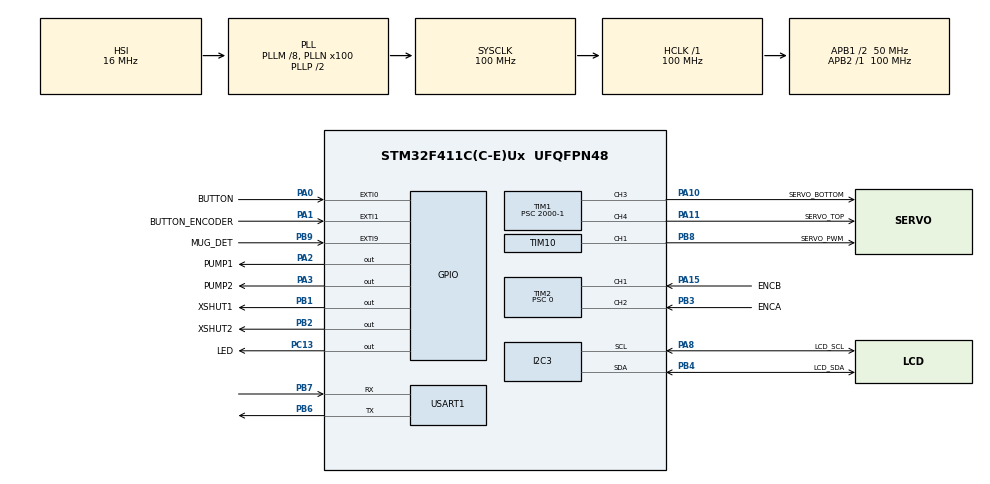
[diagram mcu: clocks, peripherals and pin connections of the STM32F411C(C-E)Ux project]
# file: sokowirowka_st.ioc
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I2C3.I2C_Mode=I2C_Standard
Mcu.Family=STM32F4
Mcu.Name=STM32F411C(C-E)Ux
Mcu.Package=UFQFPN48
NVIC.EXTI0_IRQn=true\:0\:0\:false\:false\:true\:true\:true\:true
NVIC.EXTI1_IRQn=true\:0\:0\:false\:false\:true\:true\:true\:true
NVIC.EXTI9_5_IRQn=true\:0\:0\:false\:false\:true\:true\:true\:true
NVIC.PriorityGroup=NVIC_PRIORITYGROUP_4
NVIC.TIM2_IRQn=true\:0\:0\:false\:false\:true\:true\:true\:true
NVIC.TIM3_IRQn=true\:0\:0\:false\:false\:true\:true\:true\:true
NVIC.USART1_IRQn=true\:0\:0\:false\:false\:true\:true\:true\:true
PA0-WKUP.GPIO_Label=BUTTON
PA0-WKUP.GPIO_ModeDefaultEXTI=GPIO_MODE_IT_RISING_FALLING
PA0-WKUP.GPIO_PuPd=GPIO_PULLUP
PA0-WKUP.Signal=GPXTI0
PA1.GPIO_Label=BUTTON_ENCODER
PA1.GPIO_ModeDefaultEXTI=GPIO_MODE_IT_RISING_FALLING
PA1.GPIO_PuPd=GPIO_PULLUP
PA1.Signal=GPXTI1
PA10.GPIO_Label=SERVO_BOTTOM
PA10.Signal=S_TIM1_CH3
PA11.GPIO_Label=SERVO_TOP
PA11.Signal=S_TIM1_CH4
PA15.GPIO_Label=ENCB
PA15.Signal=S_TIM2_CH1_ETR
PA2.GPIO_Label=PUMP1
PA2.Signal=GPIO_Output
PA3.GPIO_Label=PUMP2
PA3.Signal=GPIO_Output
PA8.GPIO_Label=LCD_SCL
PA8.Mode=I2C
PA8.Signal=I2C3_SCL
PB1.GPIO_Label=XSHUT1
PB1.GPIO_ModeDefaultOutputPP=GPIO_MODE_OUTPUT_PP
PB1.GPIO_PuPd=GPIO_NOPULL
PB1.Signal=GPIO_Output
PB2.GPIO_Label=XSHUT2
PB2.GPIO_ModeDefaultOutputPP=GPIO_MODE_OUTPUT_PP
PB2.GPIO_PuPd=GPIO_NOPULL
PB2.Signal=GPIO_Output
PB3.GPIO_Label=ENCA
PB3.Signal=S_TIM2_CH2
PB4.GPIO_Label=LCD_SDA
PB4.Mode=I2C
PB4.Signal=I2C3_SDA
PB6.Mode=Asynchronous
PB6.Signal=USART1_TX
PB7.Mode=Asynchronous
PB7.Signal=USART1_RX
PB8.GPIO_Label=SERVO_PWM
PB8.Signal=S_TIM10_CH1
PB9.GPIO_Label=MUG_DET
PB9.GPIO_ModeDefaultEXTI=GPIO_MODE_IT_RISING_FALLING
PB9.GPIO_PuPd=GPIO_PULLDOWN
PB9.Signal=GPXTI9
PC13-ANTI_TAMP.GPIO_Label=LED
PC13-ANTI_TAMP.Signal=GPIO_Output
ProjectManager.HeapSize=0x200
ProjectManager.StackSize=0x400
ProjectManager.TargetToolchain=CMake
RCC.48MHZClocksFreq_Value=50000000
RCC.AHBFreq_Value=100000000
RCC.APB1CLKDivider=RCC_HCLK_DIV2
RCC.APB1Freq_Value=50000000
RCC.APB1TimFreq_Value=100000000
RCC.APB2Freq_Value=100000000
RCC.APB2TimFreq_Value=100000000
RCC.CortexFreq_Value=100000000
RCC.HCLKFreq_Value=100000000
RCC.HSE_VALUE=25000000
RCC.HSI_VALUE=16000000
RCC.LSE_VALUE=32768
RCC.PLLM=8
RCC.PLLN=100
RCC.SYSCLKFreq_VALUE=100000000
RCC.SYSCLKSource=RCC_SYSCLKSOURCE_PLLCLK
RCC.VCOOutputFreq_Value=200000000
SH.S_TIM10_CH1.0=TIM10_CH1,PWM Generation1 CH1
SH.S_TIM1_CH3.0=TIM1_CH3,PWM Generation3 CH3
SH.S_TIM1_CH4.0=TIM1_CH4,PWM Generation4 CH4
SH.S_TIM2_CH1_ETR.0=TIM2_CH1,Encoder_Interface
SH.S_TIM2_CH2.0=TIM2_CH2,Encoder_Interface
TIM1.Channel-PWM\ Generation3\ CH3=TIM_CHANNEL_3
TIM1.Channel-PWM\ Generation4\ CH4=TIM_CHANNEL_4
TIM1.Period=1000-1
TIM1.Prescaler=2000-1
TIM10.Channel=TIM_CHANNEL_1
TIM2.IC2Polarity=TIM_ICPOLARITY_FALLING
TIM2.Period=4294967295
TIM2.Prescaler=0
TIM3.Period=0xffff-1
TIM3.Prescaler=16-1
USART1.VirtualMode=VM_ASYNC
VP_TIM10_VS_ClockSourceINT.Mode=Enable_Timer
VP_TIM1_VS_ClockSourceINT.Mode=Internal
VP_TIM3_VS_ClockSourceINT.Mode=Internal
VP_TIM4_VS_ClockSourceINT.Mode=Internal
board=custom

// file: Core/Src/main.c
/* USER CODE BEGIN Header */
/**
 ******************************************************************************
 * @file           : main.c
 * @brief          : Main program body
 ******************************************************************************
 * @attention
 *
 * Copyright (c) 2025 STMicroelectronics.
 * All rights reserved.
 *
 * This software is licensed under terms that can be found in the LICENSE file
 * in the root directory of this software component.
 * If no LICENSE file comes with this software, it is provided AS-IS.
 *
 ******************************************************************************
 */
/* USER CODE END Header */
#include "main.h"

#include "gpio.h"
#include "i2c.h"
#include "tim.h"
#include "usart.h"

/* USER CODE BEGIN Includes */
#include <stdbool.h>
#include <stdint.h>
#include <stdio.h>

#include "JCR_app.h"
#include "JCR_containers.h"
#include "JCR_dispenser.h"
#include "JCR_key.h"
#include "JCR_lcd.h"
#include "JCR_mug.h"
#include "JCR_uart.h"

/* USER CODE END Includes */

void SystemClock_Config(void);

/* USER CODE BEGIN 0 */

void HAL_GPIO_EXTI_Callback(uint16_t GPIO_Pin) {
    JCR_Mug_EXTI_Callback(GPIO_Pin);
    JCR_Key_EXTI_Callback(GPIO_Pin);
    JCR_Lcd_EXTI_Callback(GPIO_Pin);
}

void HAL_UARTEx_RxEventCallback(UART_HandleTypeDef *huart, uint16_t size) {
    JCR_uart_Callback(huart, size);
}

/* USER CODE END 0 */

int main(void) {

    /* MCU
     * Configuration--------------------------------------------------------*/

    /* Reset of all peripherals, Initializes the Flash interface and the
     * Systick. */
    HAL_Init();

    /* Configure the system clock */
    SystemClock_Config();

    /* Initialize all configured peripherals */
    MX_GPIO_Init();
    MX_TIM2_Init();
    MX_I2C3_Init();
    MX_TIM3_Init();
    MX_TIM4_Init();
    MX_TIM10_Init();
    MX_TIM1_Init();
    MX_USART1_UART_Init();
    /* USER CODE BEGIN 2 */

    JCR_App_Init();
    /* USER CODE END 2 */

    /* Infinite loop */
    /* USER CODE BEGIN WHILE */

    while (1) {
        JCR_App_Process();
        /* USER CODE END WHILE */

    }
}

void SystemClock_Config(void) {
    RCC_OscInitTypeDef RCC_OscInitStruct = {0};
    RCC_ClkInitTypeDef RCC_ClkInitStruct = {0};

    /** Configure the main internal regulator output voltage
     */
    __HAL_RCC_PWR_CLK_ENABLE();
    __HAL_PWR_VOLTAGESCALING_CONFIG(PWR_REGULATOR_VOLTAGE_SCALE1);

    /** Initializes the RCC Oscillators according to the specified parameters
     * in the RCC_OscInitTypeDef structure.
     */
    RCC_OscInitStruct.OscillatorType = RCC_OSCILLATORTYPE_HSI;
    RCC_OscInitStruct.HSIState = RCC_HSI_ON;
    RCC_OscInitStruct.HSICalibrationValue = RCC_HSICALIBRATION_DEFAULT;
    RCC_OscInitStruct.PLL.PLLState = RCC_PLL_ON;
    RCC_OscInitStruct.PLL.PLLSource = RCC_PLLSOURCE_HSI;
    RCC_OscInitStruct.PLL.PLLM = 8;
    RCC_OscInitStruct.PLL.PLLN = 100;
    RCC_OscInitStruct.PLL.PLLP = RCC_PLLP_DIV2;
    RCC_OscInitStruct.PLL.PLLQ = 4;
    if (HAL_RCC_OscConfig(&RCC_OscInitStruct) != HAL_OK) {
        Error_Handler();
    }

    /** Initializes the CPU, AHB and APB buses clocks
     */
    RCC_ClkInitStruct.ClockType = RCC_CLOCKTYPE_HCLK | RCC_CLOCKTYPE_SYSCLK |
                                  RCC_CLOCKTYPE_PCLK1 | RCC_CLOCKTYPE_PCLK2;
    RCC_ClkInitStruct.SYSCLKSource = RCC_SYSCLKSOURCE_PLLCLK;
    RCC_ClkInitStruct.AHBCLKDivider = RCC_SYSCLK_DIV1;
    RCC_ClkInitStruct.APB1CLKDivider = RCC_HCLK_DIV2;
    RCC_ClkInitStruct.APB2CLKDivider = RCC_HCLK_DIV1;

    if (HAL_RCC_ClockConfig(&RCC_ClkInitStruct, FLASH_LATENCY_3) != HAL_OK) {
        Error_Handler();
    }
}

void Error_Handler(void) {
    /* USER CODE BEGIN Error_Handler_Debug */
    /* User can add his own implementation to report the HAL error return state
     */
    __disable_irq();
    while (1) {
    }
    /* USER CODE END Error_Handler_Debug */
}

#ifdef USE_FULL_ASSERT
/**
 * @brief  Reports the name of the source file and the source line number
 *         where the assert_param error has occurred.
 * @param  file: pointer to the source file name
 * @param  line: assert_param error line source number
 * @retval None
 */
void assert_failed(uint8_t *file, uint32_t line) {
    /* USER CODE BEGIN 6 */
    /* User can add his own implementation to report the file name and line
       number, ex: printf("Wrong parameters value: file %s on line %d\r\n",
       file, line) */
    /* USER CODE END 6 */
}
#endif /* USE_FULL_ASSERT */
